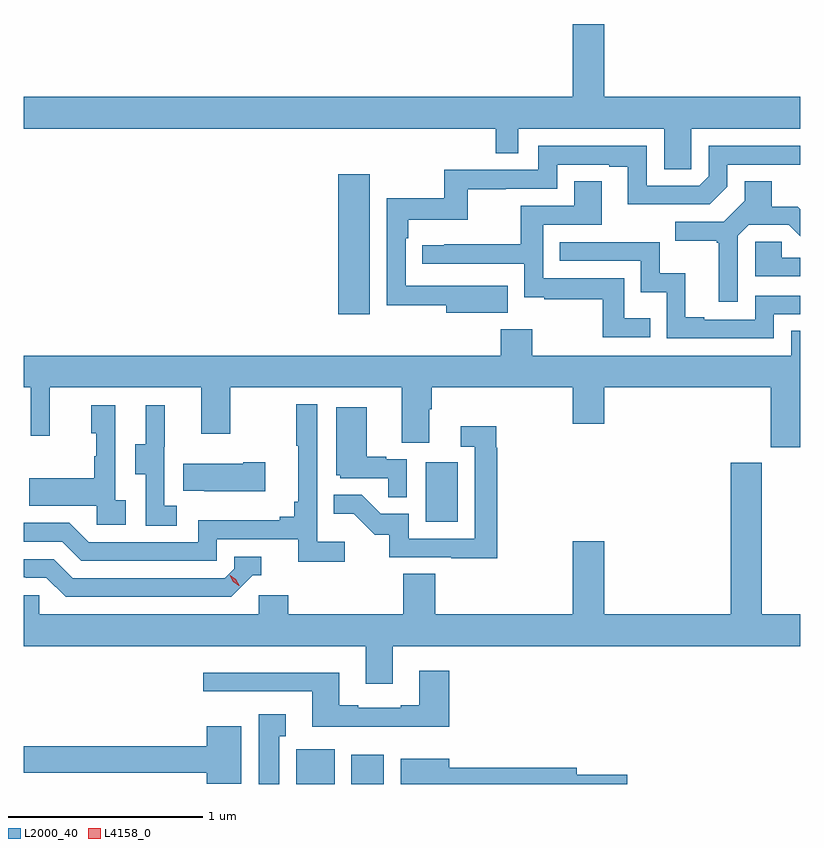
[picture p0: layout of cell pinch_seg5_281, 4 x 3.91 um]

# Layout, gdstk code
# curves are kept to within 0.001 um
import gdstk
lib = gdstk.Library(unit=1e-6, precision=1e-09)
def R(c, l, rs):  # rectangles x0, y0, x1, y1
    for r in rs: c.add(gdstk.rectangle(r[:2], r[2:], *l))
def P(c, l, *ps):  # polygons
    for p in ps: c.add(gdstk.Polygon(p, *l))
L2000_40 = (2000, 40)
L4158_0 = (4158, 0)

pinch_seg5_281 = lib.new_cell('pinch_seg5_281')
R(pinch_seg5_281, L2000_40, [(906.842,900.006,907.039,900.184), (907.124,900.006,907.291,900.157), (907.508,901.356,907.672,901.663), (907.058,902.424,907.219,903.145)])
P(pinch_seg5_281, L2000_40, [(908.874,903.38),(909.437,903.38),(909.437,903.544),(908.428,903.544),(908.428,903.919),(908.264,903.919),(908.264,903.544),(905.437,903.544),(905.437,903.38),(907.867,903.38),(907.867,903.253),(907.983,903.253),(907.983,903.38),(908.735,903.38),(908.735,903.172),(908.874,903.172)],
  [(907.931,902.572),(907.404,902.571),(907.404,902.816),(907.418,902.816),(907.418,902.912),(907.723,902.912),(907.723,903.067),(907.919,903.067),(907.919,903.072),(908.184,903.072),(908.184,903.195),(908.453,903.195),(908.453,903.183),(908.549,903.183),(908.549,902.99),(908.97,902.991),(909.06,903.081),(909.06,903.195),(909.437,903.195),(909.437,903.291),(908.964,903.291),(908.964,903.135),(908.916,903.087),(908.646,903.087),(908.646,903.291),(908.088,903.291),(908.088,903.168),(907.602,903.168),(907.602,903.022),(907.308,903.022),(907.308,902.47),(907.613,902.47),(907.613,902.432),(907.931,902.432)],
  [(909.114,902.829),(909.171,902.886),(909.377,902.886),(909.437,902.826),(909.437,902.965),(909.424,902.978),(909.289,902.978),(909.289,903.11),(909.149,903.11),(909.149,903.008),(909.042,902.901),(908.793,902.901),(908.793,902.804),(909.006,902.804),(909.006,902.793),(909.017,902.793),(909.017,902.49),(909.114,902.49)],
  [(908.663,902.404),(908.529,902.404),(908.529,902.61),(908.112,902.61),(908.112,902.886),(908.413,902.886),(908.413,903.11),(908.273,903.11),(908.273,902.982),(907.996,902.982),(907.996,902.786),(907.603,902.786),(907.603,902.781),(907.491,902.781),(907.491,902.685),(908.016,902.685),(908.016,902.513),(908.119,902.513),(908.119,902.502),(908.418,902.502),(908.418,902.307),(908.663,902.307)],
  [(909.437,902.715),(909.341,902.715),(909.341,902.799),(909.204,902.799),(909.204,902.619),(909.437,902.619)],
  [(909.3,902.424),(909.437,902.424),(909.437,902.52),(909.204,902.52),(909.204,902.397),(908.941,902.397),(908.941,902.41),(908.845,902.41),(908.845,902.635),(908.712,902.635),(908.712,902.796),(908.197,902.796),(908.197,902.7),(908.616,902.7),(908.616,902.537),(908.748,902.537),(908.748,902.301),(909.3,902.301)],
  [(909.437,902.339),(909.39,902.339),(909.39,902.212),(908.055,902.212),(908.055,902.347),(907.895,902.347),(907.895,902.212),(905.437,902.212),(905.437,902.048),(905.475,902.048),(905.475,901.8),(905.573,901.8),(905.573,902.048),(906.353,902.048),(906.353,901.809),(906.501,901.809),(906.501,902.048),(907.385,902.048),(907.385,901.762),(907.525,901.762),(907.525,901.936),(907.538,901.936),(907.538,902.048),(908.264,902.048),(908.264,901.86),(908.428,901.86),(908.428,902.048),(909.284,902.048),(909.284,901.739),(909.437,901.739)],
  [(907.09,901.252),(906.948,901.252),(906.948,901.96),(906.84,901.96),(906.84,901.747),(906.851,901.747),(906.851,901.459),(906.832,901.459),(906.832,901.382),(906.755,901.382),(906.755,901.363),(906.336,901.363),(906.336,901.251),(905.772,901.251),(905.673,901.35),(905.437,901.35),(905.437,901.254),(905.636,901.254),(905.735,901.155),(906.432,901.155),(906.432,901.266),(906.851,901.266),(906.851,901.15),(907.09,901.15)],
  [(906.226,901.439),(906.162,901.439),(906.162,901.743),(906.164,901.743),(906.164,901.957),(906.065,901.957),(906.065,901.755),(906.011,901.755),(906.011,901.6),(906.066,901.6),(906.066,901.336),(906.226,901.336)],
  [(905.962,901.466),(905.91,901.466),(905.91,901.957),(905.786,901.957),(905.786,901.812),(905.812,901.812),(905.812,901.694),(905.802,901.694),(905.802,901.579),(905.467,901.579),(905.467,901.439),(905.814,901.439),(905.814,901.341),(905.962,901.341)],
  [(907.41,901.677),(907.304,901.677),(907.304,901.69),(907.204,901.69),(907.204,901.945),(907.046,901.945),(907.046,901.596),(907.068,901.596),(907.068,901.581),(907.315,901.581),(907.315,901.483),(907.41,901.483)],
  [(907.877,901.736),(907.87,901.736),(907.87,901.849),(907.689,901.849),(907.689,901.743),(907.761,901.743),(907.761,901.269),(907.419,901.269),(907.419,901.398),(907.275,901.398),(907.177,901.496),(907.033,901.496),(907.033,901.397),(907.137,901.397),(907.244,901.29),(907.321,901.29),(907.321,901.173),(907.639,901.173),(907.639,901.168),(907.877,901.168)],
  [(906.682,901.662),(906.569,901.662),(906.569,901.654),(906.259,901.654),(906.259,901.517),(906.367,901.517),(906.367,901.514),(906.682,901.514)],
  [(906.8,900.978),(906.648,900.978),(906.648,900.88),(905.517,900.88),(905.517,900.978),(905.437,900.978),(905.437,900.716),(907.199,900.716),(907.199,900.522),(907.339,900.522),(907.339,900.716),(909.437,900.716),(909.437,900.88),(909.237,900.88),(909.237,901.66),(909.077,901.66),(909.077,900.88),(908.428,900.88),(908.428,901.255),(908.264,901.255),(908.264,900.88),(907.556,900.88),(907.556,901.088),(907.391,901.088),(907.391,900.88),(906.8,900.88)],
  [(906.618,901.08),(906.661,901.08),(906.661,901.176),(906.522,901.176),(906.522,901.113),(906.474,901.065),(905.691,901.065),(905.592,901.164),(905.437,901.164),(905.437,901.071),(905.448,901.071),(905.448,901.068),(905.555,901.068),(905.654,900.969),(906.507,900.969)],
  [(907.628,900.589),(907.475,900.589),(907.475,900.412),(907.379,900.412),(907.379,900.399),(907.159,900.399),(907.159,900.412),(907.063,900.412),(907.063,900.58),(906.363,900.58),(906.363,900.483),(906.923,900.483),(906.923,900.302),(907.628,900.302)],
  [(906.754,900.251),(906.787,900.251),(906.787,900.364),(906.647,900.364),(906.647,900.006),(906.754,900.006)],
  [(906.559,900.304),(906.38,900.304),(906.38,900.2),(905.437,900.2),(905.437,900.064),(906.38,900.064),(906.38,900.008),(906.559,900.008)],
  [(908.545,900.053),(908.284,900.053),(908.284,900.089),(907.63,900.089),(907.63,900.136),(907.379,900.136),(907.379,900.006),(908.545,900.006)])
P(pinch_seg5_281, L4158_0, [(906.546,901.028),(906.516,901.048),(906.499,901.08),(906.499,901.081),(906.5,901.081),(906.53,901.061),(906.547,901.029),(906.547,901.028)])

lib.write_gds('pinch_seg5_281.gds')
